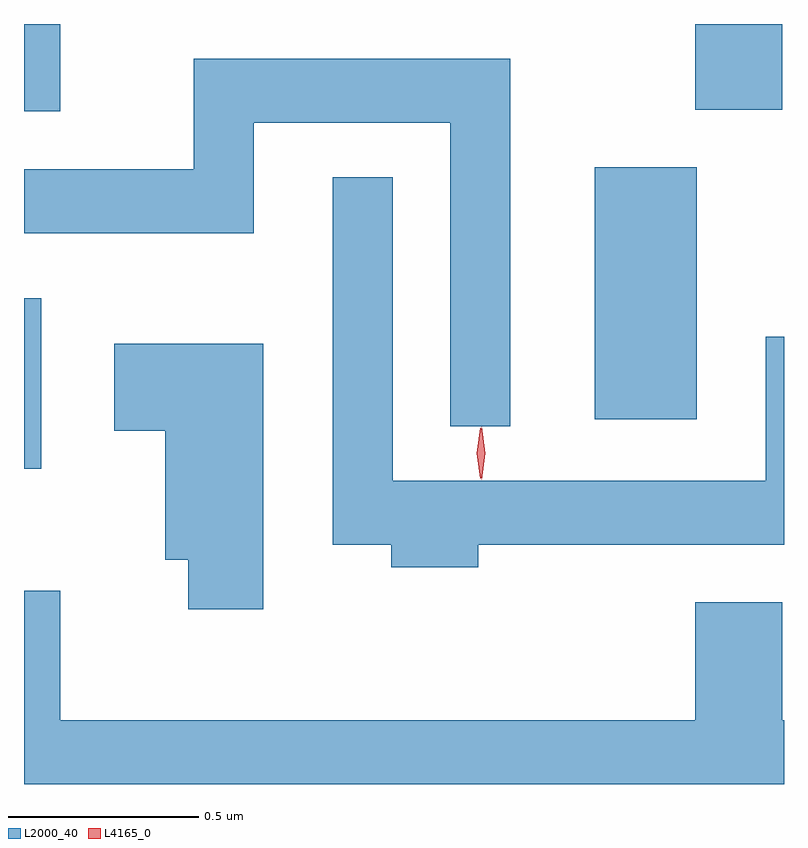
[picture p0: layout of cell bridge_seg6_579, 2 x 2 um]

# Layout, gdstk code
import gdstk
lib = gdstk.Library(unit=1e-6, precision=1e-09)
def R(c, l, rs):  # rectangles x0, y0, x1, y1
    for r in rs: c.add(gdstk.rectangle(r[:2], r[2:], *l))
def P(c, l, *ps):  # polygons
    for p in ps: c.add(gdstk.Polygon(p, *l))
L2000_40 = (2000, 40)
L4165_0 = (4165, 0)

bridge_seg6_579 = lib.new_cell('bridge_seg6_579')
R(bridge_seg6_579, L2000_40, [(411.704,1637.546,411.749,1637.994), (413.206,1637.676,413.474,1638.339), (411.704,1638.486,411.799,1638.716), (413.471,1638.491,413.699,1638.716)])
P(bridge_seg6_579, L2000_40, [(412.984,1638.624),(412.151,1638.624),(412.151,1638.334),(411.704,1638.334),(411.704,1638.166),(412.309,1638.166),(412.309,1638.456),(412.826,1638.456),(412.826,1637.658),(412.984,1637.658)],
  [(412.899,1637.346),(413.704,1637.346),(413.704,1637.893),(413.656,1637.893),(413.656,1637.514),(412.674,1637.514),(412.674,1638.313),(412.516,1638.313),(412.516,1637.346),(412.671,1637.346),(412.671,1637.286),(412.899,1637.286)],
  [(412.334,1637.874),(411.941,1637.874),(411.941,1637.646),(412.076,1637.646),(412.076,1637.306),(412.136,1637.306),(412.136,1637.176),(412.334,1637.176)],
  [(413.704,1636.884),(413.699,1636.884),(413.699,1637.194),(413.471,1637.194),(413.471,1636.884),(411.799,1636.884),(411.799,1637.224),(411.704,1637.224),(411.704,1636.716),(413.704,1636.716)])
P(bridge_seg6_579, L4165_0, [(412.905,1637.52),(412.905,1637.52),(412.895,1637.586),(412.905,1637.652),(412.905,1637.653),(412.906,1637.652),(412.915,1637.586),(412.906,1637.52)],
  [(412.908,1637.517),(412.908,1637.517),(412.898,1637.587),(412.908,1637.656),(412.908,1637.656),(412.908,1637.656),(412.918,1637.587),(412.908,1637.517)])

lib.write_gds('bridge_seg6_579.gds')
